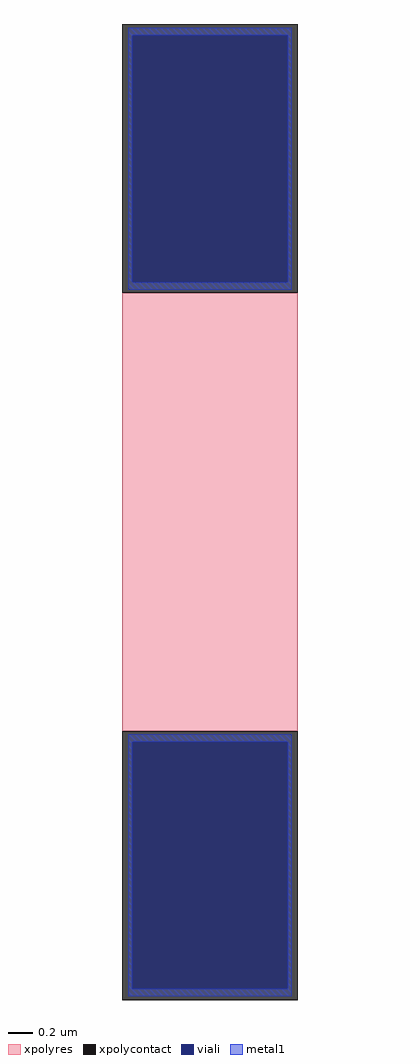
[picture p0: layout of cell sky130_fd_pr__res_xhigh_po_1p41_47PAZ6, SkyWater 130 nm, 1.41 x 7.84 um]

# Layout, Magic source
magic
tech sky130A
magscale 1 2
<< xpolycontact >>
rect -141 352 141 784
rect -141 -784 141 -352
<< xpolyres >>
rect -141 -352 141 352
<< viali >>
rect -125 369 125 766
rect -125 -766 125 -369
<< metal1 >>
rect -131 766 131 778
rect -131 369 -125 766
rect 125 369 131 766
rect -131 357 131 369
rect -131 -369 131 -357
rect -131 -766 -125 -369
rect 125 -766 131 -369
rect -131 -778 131 -766
<< properties >>
string gencell sky130_fd_pr__res_xhigh_po_1p41
string library sky130
string parameters w 1.410 l 3.68 m 1 nx 1 wmin 1.410 lmin 0.50 rho 2000 val 5.486k dummy 0 dw 0.0 term 188.2 sterm 0.0 caplen 0 wmax 1.410 guard 0 glc 1 grc 1 gtc 1 gbc 1 compatible {sky130_fd_pr__res_xhigh_po_0p35  sky130_fd_pr__res_xhigh_po_0p69 sky130_fd_pr__res_xhigh_po_1p41  sky130_fd_pr__res_xhigh_po_2p85 sky130_fd_pr__res_xhigh_po_5p73} snake 0 full_metal 1 n_guard 0 hv_guard 0 vias 1 viagb 0 viagt 0 viagl 0 viagr 0
<< end >>
